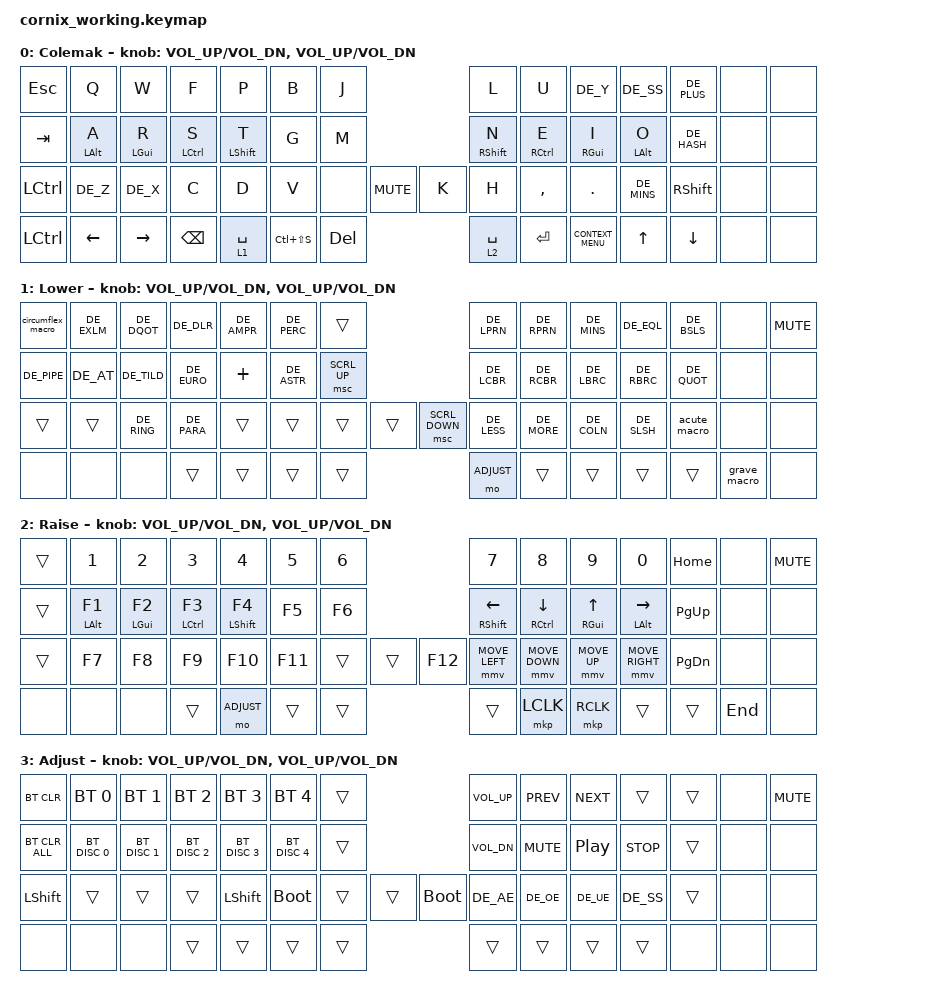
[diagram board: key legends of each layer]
/*
 * Copyright (c) 2020 The ZMK Contributors
 *
 * SPDX-License-Identifier: MIT
 */

#include "zmk-helpers/helper.h"
#include "includes/cornix54.h"
#include "includes/german.h"
#include <behaviors.dtsi>
#include <dt-bindings/zmk/bt.h>
#include <dt-bindings/zmk/keys.h>
#include <dt-bindings/zmk/mouse.h>

// tap windows for ctl alt and gui

#define HM_TAPPING_TERM 250
#define HM_TAPPING_REPEAT 210

// quick tapping for shift

#define HM_TAPPING_TERM_FAST 200
#define HM_PRIOR_IDLE 70
#define COLEMAK 0
#define LOWER 1
#define RAISE 2
#define ADJUST 3

// https://github.com/urob/zmk-config/tree/main#timeless-homerow-mods

#define KEYS_L LT0 LT1 LT2 LT3 LT4 LT5 LM0 LM1 LM2 LM3 LM4 LM5 LB0 LB1 LB2 LB3 LB4 LB5  // left hand
#define KEYS_R RT0 RT1 RT2 RT3 RT4 RT5 RM0 RM1 RM2 RM3 RM4 RM5 RB0 RB1 RB2 RB3 RB4 RB5  // right hand
#define THUMBS LH1 LH0 RH0 RH1
#define KEYS_T LH1 LH0 RH0 RH1

#include <dt-bindings/zmk/ext_power.h>
#include <dt-bindings/zmk/pointing.h>

/ {
    // Activate ADJUST layer by pressing raise and lower

    behaviors {
        // Dead key macros for German typing
        grave_macro: grave_macro {
            label = "Grave_Macro";
            compatible = "zmk,behavior-macro";
            #binding-cells = <0>;
            bindings = <&kp GRAVE &kp SPACE>;
        };

        acute_macro: acute_macro {
            label = "Acute_Macro";
            compatible = "zmk,behavior-macro";
            #binding-cells = <0>;
            bindings = <&kp LS(EQUAL) &kp SPACE>;
        };

        circumflex_macro: circumflex_macro {
            label = "Circumflex_Macro";
            compatible = "zmk,behavior-macro";
            #binding-cells = <0>;
            bindings = <&kp EQUAL &kp SPACE>;
        };

        hm_l: homerow_mods_left {
            compatible = "zmk,behavior-hold-tap";
            #binding-cells = <2>;
            bindings = <&kp>, <&kp>;

            flavor = "balanced";
            tapping-term-ms = <HM_TAPPING_TERM>;
            quick-tap-ms = <200>;                // repeat on tap-into-hold
            require-prior-idle-ms = <HM_PRIOR_IDLE>;
            hold-trigger-key-positions = <KEYS_R KEYS_T>;
            hold-trigger-on-release;
        };

        hm_r: homerow_mods_right {
            compatible = "zmk,behavior-hold-tap";
            #binding-cells = <2>;
            bindings = <&kp>, <&kp>;

            flavor = "balanced";
            tapping-term-ms = <HM_TAPPING_TERM>;
            quick-tap-ms = <200>;
            require-prior-idle-ms = <HM_PRIOR_IDLE>;
            hold-trigger-key-positions = <KEYS_L KEYS_T>;
            hold-trigger-on-release;
        };

        // Positional Homerow mods for shift
        // Use faster tapping term and disable some features that may
        // cause false negatives.

        hm_shift_l: hm_shift_l {
            compatible = "zmk,behavior-hold-tap";
            #binding-cells = <2>;
            bindings = <&kp>, <&kp>;

            //flavor = "balanced";

            flavor = "balanced";
            tapping-term-ms = <HM_TAPPING_TERM_FAST>;
            quick-tap-ms = <200>;
            require-prior-idle-ms = <HM_PRIOR_IDLE>;
            hold-trigger-key-positions = <KEYS_R KEYS_T>;
            hold-trigger-on-release;
        };

        hm_shift_r: hm_shift_r {
            compatible = "zmk,behavior-hold-tap";
            #binding-cells = <2>;
            bindings = <&kp>, <&kp>;

            flavor = "balanced";
            tapping-term-ms = <HM_TAPPING_TERM_FAST>;
            quick-tap-ms = <200>;
            require-prior-idle-ms = <HM_PRIOR_IDLE>;
            hold-trigger-key-positions = <KEYS_L KEYS_T>;

            // for quick tapping; shift+~

            hold-trigger-on-release;
        };

        /*
         * Non-Positional Homerow Mods
         * Used for &mm_grescm_gui behavior on left hand.
         *
         * Usage: &hm LSHFT T
         * Tap: T
         * Tap-Tap-Hold: Repeat T
         * Hold: LSHIFT
         */

        hm: homerow_mods {
            compatible = "zmk,behavior-hold-tap";
            #binding-cells = <2>;
            bindings = <&kp>, <&kp>;

            flavor = "balanced";
            tapping-term-ms = <HM_TAPPING_TERM>;
            quick-tap-ms = <200>;
        };

        lt: layer_tap {
            compatible = "zmk,behavior-hold-tap";
            #binding-cells = <2>;
            bindings = <&mo>, <&kp>;

            flavor = "hold-preferred";
            tapping-term-ms = <HM_TAPPING_TERM>;
            quick-tap-ms = <200>;
        };
    };

    conditional_layers {
        compatible = "zmk,conditional-layers";

        adjust_layer {
            if-layers = <LOWER RAISE>;
            then-layer = <ADJUST>;
        };
    };

    combos {
        compatible = "zmk,combos";

        cb_ltm {
            bindings = <&kp ESC>;
            key-positions = <2 4>;
            layers = <0 1>;
        };

        cb_lm {
            bindings = <&kp TAB>;
            key-positions = <14 16>;
            layers = <0 1>;
        };

        cb_enter {
            bindings = <&kp RET>;
            key-positions = <21 19>;
            layers = <0 1>;
        };

        layer3 {
            bindings = <&kp N3>;
            key-positions = <5 6>;
        };

        layer4 {
            bindings = <&kp N4>;
            key-positions = <5 6>;
        };
    };

    keymap {
        compatible = "zmk,keymap";

        colemak_layer {
            display-name = "Colemak";

            // German Colemak-DHm with homerow mods - Matrix positions:
            // ╭─────────────────────────────────────────────────────╮ ╭─────────────────────────────────────────────────────╮
            // │ ESC │  Q  │  W  │  F  │  P  │  B  │                 │  J  │  L  │  U  │  Y  │  ß  │ +   │
            // │ TAB │  A  │  R  │  S  │  T  │  G  │                 │  M  │  N  │  E  │  I  │  O  │ #   │
            // │CTRL │  Z  │  X  │  C  │  D  │  V  │[030]│   │[031]  │  K  │  H  │  ,  │  .  │  -  │SHFT │
            // ╰───────────────╮ ← │ → │BSPC │SPC1 │SnagIt│     │ DEL │SPC2 │ENT │Menu │ ↑ │ ↓ │
            //                 ╰─────────────────────────╯     ╰─────────────────────────╯
            // Homerow: A(Alt) R(GUI) S(Ctrl) T(Shift)     N(Shift) E(Ctrl) I(GUI) O(Alt)
            // Encoders: [030]=Left encoder button (disabled), [031]=Right encoder button (mute)

            bindings = <
&kp ESC    &kp Q        &kp W        &kp F         &kp P              &kp B                                   &kp J    &kp L              &kp U        &kp DE_Y     &kp DE_SS      &kp DE_PLUS      &none  &none
&kp TAB    &hm_l LALT A &hm_l LGUI R &hm_l LCTRL S &hm_shift_l LSHFT T &kp G                                  &kp M    &hm_shift_r RSHFT N &hm_r RCTRL E &hm_r RGUI I &hm_r LALT O   &kp DE_HASH      &none  &none
&kp LCTRL  &kp DE_Z     &kp DE_X     &kp C         &kp D              &kp V    &none    &kp C_MUTE             &kp K    &kp H              &kp COMMA    &kp DOT      &kp DE_MINS    &kp RSHFT        &none  &none
&kp LCTRL  &kp LEFT     &kp RIGHT    &kp BSPC      &lt 1 SPACE        &kp LC(LS(S))                          &kp DEL  &lt 2 SPACE        &kp RET      &kp K_CONTEXT_MENU &kp UP   &kp DOWN    &none  &none
            >;
            sensor-bindings = <&inc_dec_kp C_VOL_UP C_VOL_DN &inc_dec_kp C_VOL_UP C_VOL_DN>;
        };

        lower_layer {
            display-name = "Lower";

            // German symbol layer matching ZSA Voyager layout
            // ╭─────────────────────────────────────────────────────╮ ╭─────────────────────────────────────────────────────╮
            // │`MRC │  !  │  "  │  $  │  &  │  %  │                 │     │  (  │  )  │  -  │  =  │ \   │
            // │  |  │  @  │  ~  │  €  │  +  │  *  │                 │↑WHL │  {  │  }  │  [  │  ]  │ '   │
            // │     │     │  °  │  §  │     │     │                 │↓WHL │  <  │  >  │  :  │  /  │'MRC │
            // ╰───────────────╮     │     │     │     │     │     │     │FUNC │     │     │^MRC │
            //                 ╰─────────────────────────╯     ╰─────────────────────────╯

            bindings = <
&circumflex_macro &kp DE_EXLM         &kp DE_DQOT         &kp DE_DLR          &kp DE_AMPR         &kp DE_PERC                                     &trans              &kp DE_LPRN         &kp DE_RPRN         &kp DE_MINS         &kp DE_EQL          &kp DE_BSLS         &none               &kp C_MUTE
&kp DE_PIPE       &kp DE_AT           &kp DE_TILD         &kp DE_EURO         &kp PLUS            &kp DE_ASTR                                     &msc SCRL_UP        &kp DE_LCBR         &kp DE_RCBR         &kp DE_LBRC         &kp DE_RBRC         &kp DE_QUOT         &none               &none
&trans            &trans              &kp DE_RING         &kp DE_PARA         &trans              &trans          &trans          &trans          &msc SCRL_DOWN      &kp DE_LESS         &kp DE_MORE         &kp DE_COLN         &kp DE_SLSH         &acute_macro        &none               &none
&none             &none               &none               &trans              &trans              &trans                                          &trans              &mo ADJUST          &trans              &trans              &trans              &trans              &grave_macro        &none
            >;
            sensor-bindings = <&inc_dec_kp C_VOL_UP C_VOL_DN &inc_dec_kp C_VOL_UP C_VOL_DN>;
        };

        raise_layer {
            display-name = "Raise";

            // Number and function key layer
            // ╭─────────────────────────────────────────────────────╮ ╭─────────────────────────────────────────────────────╮
            // │     │  1  │  2  │  3  │  4  │  5  │                 │  6  │  7  │  8  │  9  │  0  │HOME │
            // │     │ F1  │ F2  │ F3  │ F4  │ F5  │                 │ F6  │ ←   │ ↓   │ ↑   │ →   │PGUP │
            // │     │ F7  │ F8  │ F9  │F10  │F11  │                 │F12  │M←  │M↓  │M↑  │M→  │PGDN │
            // ╰───────────────╮     │     │     │FUNC │     │     │BTN1 │BTN2 │     │ END │
            //                 ╰─────────────────────────╯     ╰─────────────────────────╯

            bindings = <
&trans            &kp N1              &kp N2              &kp N3              &kp N4              &kp N5                                          &kp N6              &kp N7              &kp N8              &kp N9              &kp N0              &kp HOME            &none               &kp C_MUTE
&trans            &hm_l LALT F1       &hm_l LGUI F2       &hm_l LCTRL F3      &hm_shift_l LSHFT F4 &kp F5                                         &kp F6              &hm_shift_r RSHFT LEFT &hm_r RCTRL DOWN &hm_r RGUI UP       &hm_r LALT RIGHT    &kp PG_UP           &none               &none
&trans            &kp F7              &kp F8              &kp F9              &kp F10             &kp F11         &trans          &trans          &kp F12             &mmv MOVE_LEFT      &mmv MOVE_DOWN      &mmv MOVE_UP        &mmv MOVE_RIGHT     &kp PG_DN           &none               &none
&none             &none               &none               &trans              &mo ADJUST          &trans                                          &trans              &trans              &mkp LCLK           &mkp RCLK           &trans              &trans              &kp END             &none
            >;
            sensor-bindings = <&inc_dec_kp C_VOL_UP C_VOL_DN &inc_dec_kp C_VOL_UP C_VOL_DN>;
        };

        adjust_layer {
            display-name = "Adjust";

            // Function layer - matches Voyager Layer 3 with Bluetooth, media, and German umlauts
            // ╭─────────────────────────────────────────────────────╮ ╭─────────────────────────────────────────────────────╮
            // │BTCLR│ BT1 │ BT2 │ BT3 │ BT4 │ BT5 │                 │     │VOL+ │PREV │NEXT │     │     │
            // │BTALL│BTDI1│BTDI2│BTDI3│BTDI4│BTDI5│                 │     │VOL- │MUTE │PLAY │STOP │     │
            // │SHFT │     │     │     │SHFT │BOOT │                 │BOOT │  ä  │  ö  │  ü  │  ß  │     │
            // ╰───────────────╮     │     │     │     │     │     │     │     │     │     │     │
            //                 ╰─────────────────────────╯     ╰─────────────────────────╯

            bindings = <
&bt BT_CLR        &bt BT_SEL 0        &bt BT_SEL 1        &bt BT_SEL 2        &bt BT_SEL 3        &bt BT_SEL 4                                    &trans              &kp C_VOL_UP        &kp C_PREV          &kp C_NEXT          &trans              &trans              &none               &kp C_MUTE
&bt BT_CLR_ALL    &bt BT_DISC 0       &bt BT_DISC 1       &bt BT_DISC 2       &bt BT_DISC 3       &bt BT_DISC 4                                   &trans              &kp C_VOL_DN        &kp C_MUTE          &kp C_PP            &kp C_STOP          &trans              &none               &none
&kp LSHFT         &trans              &trans              &trans              &kp LSHFT           &bootloader     &trans          &trans          &bootloader         &kp DE_AE           &kp DE_OE           &kp DE_UE           &kp DE_SS           &trans              &none               &none
&none             &none               &none               &trans              &trans              &trans                                          &trans              &trans              &trans              &trans              &trans              &none               &none               &none
            >;
            sensor-bindings = <&inc_dec_kp C_VOL_UP C_VOL_DN &inc_dec_kp C_VOL_UP C_VOL_DN>;
        };
    };
};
